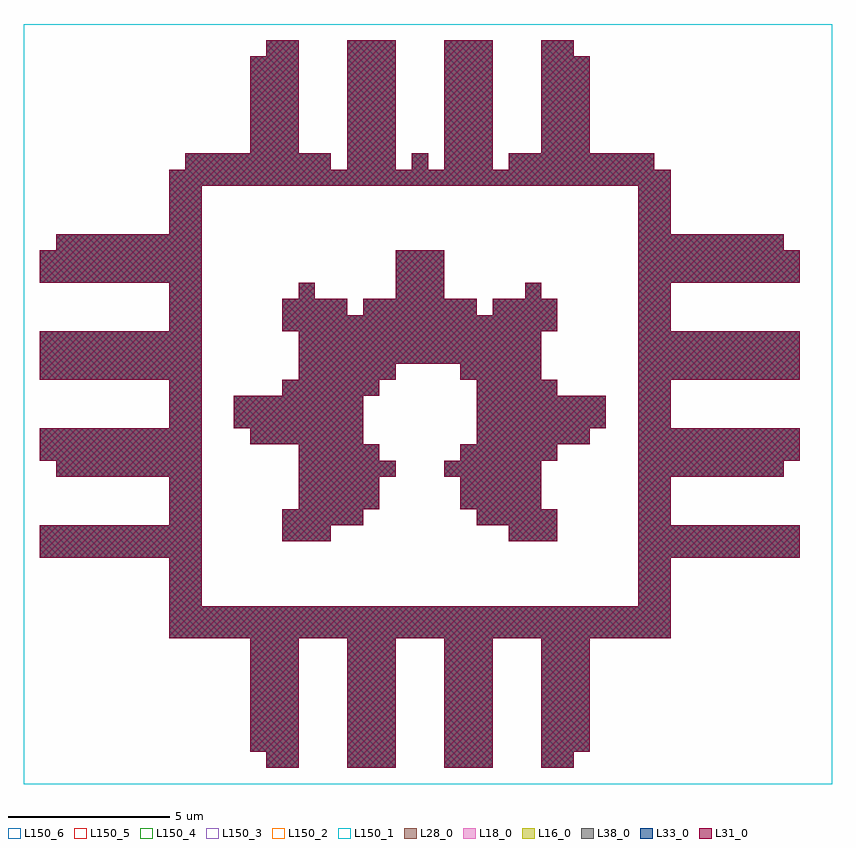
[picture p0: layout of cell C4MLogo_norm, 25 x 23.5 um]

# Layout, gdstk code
import gdstk
lib = gdstk.Library(unit=1e-6, precision=1e-09)
def R(c, l, rs):  # rectangles x0, y0, x1, y1
    for r in rs: c.add(gdstk.rectangle(r[:2], r[2:], *l))
def A(c, l, x, y, w, h, nx, ny, dx, dy):  # array of equal rectangles
    R(c, l, [(x+i*dx, y+j*dy, x+i*dx+w, y+j*dy+h) for i in range(nx) for j in range(ny)])
L16_0 = (16, 0)
L18_0 = (18, 0)
L28_0 = (28, 0)
L31_0 = (31, 0)
L33_0 = (33, 0)
L38_0 = (38, 0)
L150_1 = (150, 1)
L150_2 = (150, 2)
L150_3 = (150, 3)
L150_4 = (150, 4)
L150_5 = (150, 5)
L150_6 = (150, 6)

c4mlogo_norm = lib.new_cell('C4MLogo_norm')
A(c4mlogo_norm, L16_0, -5.5, -10.75, 1.5, 0.5, 4, 7, 3, 0.5)
A(c4mlogo_norm, L16_0, -8, -6.25, 1, 0.5, 1, 3, 0, 0.5)
A(c4mlogo_norm, L16_0, 6.5, -6.25, 1, 0.5, 1, 3, 0, 0.5)
A(c4mlogo_norm, L16_0, -8, -3.75, 1, 0.5, 1, 3, 0, 0.5)
A(c4mlogo_norm, L16_0, 6.5, -3.75, 1, 0.5, 1, 3, 0, 0.5)
A(c4mlogo_norm, L16_0, -8, -0.75, 1, 0.5, 1, 3, 0, 0.5)
A(c4mlogo_norm, L16_0, 6.5, -0.75, 1, 0.5, 1, 3, 0, 0.5)
A(c4mlogo_norm, L16_0, -12, 0.75, 5, 0.5, 1, 3, 0, 0.5)
A(c4mlogo_norm, L16_0, 6.5, 0.75, 5, 0.5, 1, 3, 0, 0.5)
A(c4mlogo_norm, L16_0, -8, 2.25, 1, 0.5, 1, 3, 0, 0.5)
A(c4mlogo_norm, L16_0, 6.5, 2.25, 1, 0.5, 1, 3, 0, 0.5)
A(c4mlogo_norm, L16_0, -1, 3.25, 1.5, 0.5, 1, 3, 0, 0.5)
A(c4mlogo_norm, L16_0, -8, 5.25, 1, 0.5, 1, 3, 0, 0.5)
A(c4mlogo_norm, L16_0, 6.5, 5.25, 1, 0.5, 1, 3, 0, 0.5)
A(c4mlogo_norm, L16_0, -5.5, 7.75, 1.5, 0.5, 4, 6, 3, 0.5)
R(c4mlogo_norm, L16_0, [(-5,-11.25,-4,-10.75), (-2.5,-11.25,-1,-10.75), (0.5,-11.25,2,-10.75), (3.5,-11.25,4.5,-10.75), (-8,-7.25,7.5,-6.75), (-8,-6.75,7.5,-6.25), (-12,-4.75,-7,-4.25), (6.5,-4.75,11.5,-4.25), (-12,-4.25,-7,-3.75), (-4.5,-4.25,-3,-3.75), (2.5,-4.25,4,-3.75), (6.5,-4.25,11.5,-3.75), (-4.5,-3.75,-2,-3.25), (1.5,-3.75,4,-3.25), (-4,-3.25,-1.5,-2.75), (1,-3.25,3.5,-2.75), (-4,-2.75,-1.5,-2.25), (1,-2.75,3.5,-2.25), (-11.5,-2.25,-7,-1.75), (-4,-2.25,-1,-1.75), (0.5,-2.25,3.5,-1.75), (6.5,-2.25,11,-1.75), (-12,-1.75,-7,-1.25), (-4,-1.75,-1.5,-1.25), (1,-1.75,4,-1.25), (6.5,-1.75,11.5,-1.25), (-12,-1.25,-7,-0.75), (-5.5,-1.25,-2,-0.75), (1.5,-1.25,5,-0.75), (6.5,-1.25,11.5,-0.75), (-6,-0.75,-2,-0.25), (1.5,-0.75,5.5,-0.25), (-6,-0.25,-2,0.25), (1.5,-0.25,5.5,0.25), (-4.5,0.25,-1.5,0.75), (1.5,0.25,4,0.75), (-4,0.75,-1,1.25), (1,0.75,3.5,1.25), (-4,1.25,3.5,1.75), (-4,1.75,3.5,2.25), (-4.5,2.25,4,2.75), (-4.5,2.75,-2.5,3.25), (-2,2.75,1.5,3.25), (2,2.75,4,3.25), (-4,3.25,-3.5,3.75), (3,3.25,3.5,3.75), (-12,3.75,-7,4.25), (6.5,3.75,11.5,4.25), (-12,4.25,-7,4.75), (6.5,4.25,11.5,4.75), (-11.5,4.75,-7,5.25), (6.5,4.75,11,5.25), (-8,6.75,7.5,7.25), (-7.5,7.25,-3,7.75), (-2.5,7.25,-1,7.75), (-0.5,7.25,0,7.75), (0.5,7.25,2,7.75), (2.5,7.25,7,7.75), (-5,10.75,-4,11.25), (-2.5,10.75,-1,11.25), (0.5,10.75,2,11.25), (3.5,10.75,4.5,11.25)])
A(c4mlogo_norm, L18_0, -5.5, -10.75, 1.5, 0.5, 4, 7, 3, 0.5)
A(c4mlogo_norm, L18_0, -8, -6.25, 1, 0.5, 1, 3, 0, 0.5)
A(c4mlogo_norm, L18_0, 6.5, -6.25, 1, 0.5, 1, 3, 0, 0.5)
A(c4mlogo_norm, L18_0, -8, -3.75, 1, 0.5, 1, 3, 0, 0.5)
A(c4mlogo_norm, L18_0, 6.5, -3.75, 1, 0.5, 1, 3, 0, 0.5)
A(c4mlogo_norm, L18_0, -8, -0.75, 1, 0.5, 1, 3, 0, 0.5)
A(c4mlogo_norm, L18_0, 6.5, -0.75, 1, 0.5, 1, 3, 0, 0.5)
A(c4mlogo_norm, L18_0, -12, 0.75, 5, 0.5, 1, 3, 0, 0.5)
A(c4mlogo_norm, L18_0, 6.5, 0.75, 5, 0.5, 1, 3, 0, 0.5)
A(c4mlogo_norm, L18_0, -8, 2.25, 1, 0.5, 1, 3, 0, 0.5)
A(c4mlogo_norm, L18_0, 6.5, 2.25, 1, 0.5, 1, 3, 0, 0.5)
A(c4mlogo_norm, L18_0, -1, 3.25, 1.5, 0.5, 1, 3, 0, 0.5)
A(c4mlogo_norm, L18_0, -8, 5.25, 1, 0.5, 1, 3, 0, 0.5)
A(c4mlogo_norm, L18_0, 6.5, 5.25, 1, 0.5, 1, 3, 0, 0.5)
A(c4mlogo_norm, L18_0, -5.5, 7.75, 1.5, 0.5, 4, 6, 3, 0.5)
R(c4mlogo_norm, L18_0, [(-5,-11.25,-4,-10.75), (-2.5,-11.25,-1,-10.75), (0.5,-11.25,2,-10.75), (3.5,-11.25,4.5,-10.75), (-8,-7.25,7.5,-6.75), (-8,-6.75,7.5,-6.25), (-12,-4.75,-7,-4.25), (6.5,-4.75,11.5,-4.25), (-12,-4.25,-7,-3.75), (-4.5,-4.25,-3,-3.75), (2.5,-4.25,4,-3.75), (6.5,-4.25,11.5,-3.75), (-4.5,-3.75,-2,-3.25), (1.5,-3.75,4,-3.25), (-4,-3.25,-1.5,-2.75), (1,-3.25,3.5,-2.75), (-4,-2.75,-1.5,-2.25), (1,-2.75,3.5,-2.25), (-11.5,-2.25,-7,-1.75), (-4,-2.25,-1,-1.75), (0.5,-2.25,3.5,-1.75), (6.5,-2.25,11,-1.75), (-12,-1.75,-7,-1.25), (-4,-1.75,-1.5,-1.25), (1,-1.75,4,-1.25), (6.5,-1.75,11.5,-1.25), (-12,-1.25,-7,-0.75), (-5.5,-1.25,-2,-0.75), (1.5,-1.25,5,-0.75), (6.5,-1.25,11.5,-0.75), (-6,-0.75,-2,-0.25), (1.5,-0.75,5.5,-0.25), (-6,-0.25,-2,0.25), (1.5,-0.25,5.5,0.25), (-4.5,0.25,-1.5,0.75), (1.5,0.25,4,0.75), (-4,0.75,-1,1.25), (1,0.75,3.5,1.25), (-4,1.25,3.5,1.75), (-4,1.75,3.5,2.25), (-4.5,2.25,4,2.75), (-4.5,2.75,-2.5,3.25), (-2,2.75,1.5,3.25), (2,2.75,4,3.25), (-4,3.25,-3.5,3.75), (3,3.25,3.5,3.75), (-12,3.75,-7,4.25), (6.5,3.75,11.5,4.25), (-12,4.25,-7,4.75), (6.5,4.25,11.5,4.75), (-11.5,4.75,-7,5.25), (6.5,4.75,11,5.25), (-8,6.75,7.5,7.25), (-7.5,7.25,-3,7.75), (-2.5,7.25,-1,7.75), (-0.5,7.25,0,7.75), (0.5,7.25,2,7.75), (2.5,7.25,7,7.75), (-5,10.75,-4,11.25), (-2.5,10.75,-1,11.25), (0.5,10.75,2,11.25), (3.5,10.75,4.5,11.25)])
A(c4mlogo_norm, L28_0, -5.5, -10.75, 1.5, 0.5, 4, 7, 3, 0.5)
A(c4mlogo_norm, L28_0, -8, -6.25, 1, 0.5, 1, 3, 0, 0.5)
A(c4mlogo_norm, L28_0, 6.5, -6.25, 1, 0.5, 1, 3, 0, 0.5)
A(c4mlogo_norm, L28_0, -8, -3.75, 1, 0.5, 1, 3, 0, 0.5)
A(c4mlogo_norm, L28_0, 6.5, -3.75, 1, 0.5, 1, 3, 0, 0.5)
A(c4mlogo_norm, L28_0, -8, -0.75, 1, 0.5, 1, 3, 0, 0.5)
A(c4mlogo_norm, L28_0, 6.5, -0.75, 1, 0.5, 1, 3, 0, 0.5)
A(c4mlogo_norm, L28_0, -12, 0.75, 5, 0.5, 1, 3, 0, 0.5)
A(c4mlogo_norm, L28_0, 6.5, 0.75, 5, 0.5, 1, 3, 0, 0.5)
A(c4mlogo_norm, L28_0, -8, 2.25, 1, 0.5, 1, 3, 0, 0.5)
A(c4mlogo_norm, L28_0, 6.5, 2.25, 1, 0.5, 1, 3, 0, 0.5)
A(c4mlogo_norm, L28_0, -1, 3.25, 1.5, 0.5, 1, 3, 0, 0.5)
A(c4mlogo_norm, L28_0, -8, 5.25, 1, 0.5, 1, 3, 0, 0.5)
A(c4mlogo_norm, L28_0, 6.5, 5.25, 1, 0.5, 1, 3, 0, 0.5)
A(c4mlogo_norm, L28_0, -5.5, 7.75, 1.5, 0.5, 4, 6, 3, 0.5)
R(c4mlogo_norm, L28_0, [(-5,-11.25,-4,-10.75), (-2.5,-11.25,-1,-10.75), (0.5,-11.25,2,-10.75), (3.5,-11.25,4.5,-10.75), (-8,-7.25,7.5,-6.75), (-8,-6.75,7.5,-6.25), (-12,-4.75,-7,-4.25), (6.5,-4.75,11.5,-4.25), (-12,-4.25,-7,-3.75), (-4.5,-4.25,-3,-3.75), (2.5,-4.25,4,-3.75), (6.5,-4.25,11.5,-3.75), (-4.5,-3.75,-2,-3.25), (1.5,-3.75,4,-3.25), (-4,-3.25,-1.5,-2.75), (1,-3.25,3.5,-2.75), (-4,-2.75,-1.5,-2.25), (1,-2.75,3.5,-2.25), (-11.5,-2.25,-7,-1.75), (-4,-2.25,-1,-1.75), (0.5,-2.25,3.5,-1.75), (6.5,-2.25,11,-1.75), (-12,-1.75,-7,-1.25), (-4,-1.75,-1.5,-1.25), (1,-1.75,4,-1.25), (6.5,-1.75,11.5,-1.25), (-12,-1.25,-7,-0.75), (-5.5,-1.25,-2,-0.75), (1.5,-1.25,5,-0.75), (6.5,-1.25,11.5,-0.75), (-6,-0.75,-2,-0.25), (1.5,-0.75,5.5,-0.25), (-6,-0.25,-2,0.25), (1.5,-0.25,5.5,0.25), (-4.5,0.25,-1.5,0.75), (1.5,0.25,4,0.75), (-4,0.75,-1,1.25), (1,0.75,3.5,1.25), (-4,1.25,3.5,1.75), (-4,1.75,3.5,2.25), (-4.5,2.25,4,2.75), (-4.5,2.75,-2.5,3.25), (-2,2.75,1.5,3.25), (2,2.75,4,3.25), (-4,3.25,-3.5,3.75), (3,3.25,3.5,3.75), (-12,3.75,-7,4.25), (6.5,3.75,11.5,4.25), (-12,4.25,-7,4.75), (6.5,4.25,11.5,4.75), (-11.5,4.75,-7,5.25), (6.5,4.75,11,5.25), (-8,6.75,7.5,7.25), (-7.5,7.25,-3,7.75), (-2.5,7.25,-1,7.75), (-0.5,7.25,0,7.75), (0.5,7.25,2,7.75), (2.5,7.25,7,7.75), (-5,10.75,-4,11.25), (-2.5,10.75,-1,11.25), (0.5,10.75,2,11.25), (3.5,10.75,4.5,11.25)])
A(c4mlogo_norm, L31_0, -5.5, -10.75, 1.5, 0.5, 4, 7, 3, 0.5)
A(c4mlogo_norm, L31_0, -8, -6.25, 1, 0.5, 1, 3, 0, 0.5)
A(c4mlogo_norm, L31_0, 6.5, -6.25, 1, 0.5, 1, 3, 0, 0.5)
A(c4mlogo_norm, L31_0, -8, -3.75, 1, 0.5, 1, 3, 0, 0.5)
A(c4mlogo_norm, L31_0, 6.5, -3.75, 1, 0.5, 1, 3, 0, 0.5)
A(c4mlogo_norm, L31_0, -8, -0.75, 1, 0.5, 1, 3, 0, 0.5)
A(c4mlogo_norm, L31_0, 6.5, -0.75, 1, 0.5, 1, 3, 0, 0.5)
A(c4mlogo_norm, L31_0, -12, 0.75, 5, 0.5, 1, 3, 0, 0.5)
A(c4mlogo_norm, L31_0, 6.5, 0.75, 5, 0.5, 1, 3, 0, 0.5)
A(c4mlogo_norm, L31_0, -8, 2.25, 1, 0.5, 1, 3, 0, 0.5)
A(c4mlogo_norm, L31_0, 6.5, 2.25, 1, 0.5, 1, 3, 0, 0.5)
A(c4mlogo_norm, L31_0, -1, 3.25, 1.5, 0.5, 1, 3, 0, 0.5)
A(c4mlogo_norm, L31_0, -8, 5.25, 1, 0.5, 1, 3, 0, 0.5)
A(c4mlogo_norm, L31_0, 6.5, 5.25, 1, 0.5, 1, 3, 0, 0.5)
A(c4mlogo_norm, L31_0, -5.5, 7.75, 1.5, 0.5, 4, 6, 3, 0.5)
R(c4mlogo_norm, L31_0, [(-5,-11.25,-4,-10.75), (-2.5,-11.25,-1,-10.75), (0.5,-11.25,2,-10.75), (3.5,-11.25,4.5,-10.75), (-8,-7.25,7.5,-6.75), (-8,-6.75,7.5,-6.25), (-12,-4.75,-7,-4.25), (6.5,-4.75,11.5,-4.25), (-12,-4.25,-7,-3.75), (-4.5,-4.25,-3,-3.75), (2.5,-4.25,4,-3.75), (6.5,-4.25,11.5,-3.75), (-4.5,-3.75,-2,-3.25), (1.5,-3.75,4,-3.25), (-4,-3.25,-1.5,-2.75), (1,-3.25,3.5,-2.75), (-4,-2.75,-1.5,-2.25), (1,-2.75,3.5,-2.25), (-11.5,-2.25,-7,-1.75), (-4,-2.25,-1,-1.75), (0.5,-2.25,3.5,-1.75), (6.5,-2.25,11,-1.75), (-12,-1.75,-7,-1.25), (-4,-1.75,-1.5,-1.25), (1,-1.75,4,-1.25), (6.5,-1.75,11.5,-1.25), (-12,-1.25,-7,-0.75), (-5.5,-1.25,-2,-0.75), (1.5,-1.25,5,-0.75), (6.5,-1.25,11.5,-0.75), (-6,-0.75,-2,-0.25), (1.5,-0.75,5.5,-0.25), (-6,-0.25,-2,0.25), (1.5,-0.25,5.5,0.25), (-4.5,0.25,-1.5,0.75), (1.5,0.25,4,0.75), (-4,0.75,-1,1.25), (1,0.75,3.5,1.25), (-4,1.25,3.5,1.75), (-4,1.75,3.5,2.25), (-4.5,2.25,4,2.75), (-4.5,2.75,-2.5,3.25), (-2,2.75,1.5,3.25), (2,2.75,4,3.25), (-4,3.25,-3.5,3.75), (3,3.25,3.5,3.75), (-12,3.75,-7,4.25), (6.5,3.75,11.5,4.25), (-12,4.25,-7,4.75), (6.5,4.25,11.5,4.75), (-11.5,4.75,-7,5.25), (6.5,4.75,11,5.25), (-8,6.75,7.5,7.25), (-7.5,7.25,-3,7.75), (-2.5,7.25,-1,7.75), (-0.5,7.25,0,7.75), (0.5,7.25,2,7.75), (2.5,7.25,7,7.75), (-5,10.75,-4,11.25), (-2.5,10.75,-1,11.25), (0.5,10.75,2,11.25), (3.5,10.75,4.5,11.25)])
A(c4mlogo_norm, L33_0, -5.5, -10.75, 1.5, 0.5, 4, 7, 3, 0.5)
A(c4mlogo_norm, L33_0, -8, -6.25, 1, 0.5, 1, 3, 0, 0.5)
A(c4mlogo_norm, L33_0, 6.5, -6.25, 1, 0.5, 1, 3, 0, 0.5)
A(c4mlogo_norm, L33_0, -8, -3.75, 1, 0.5, 1, 3, 0, 0.5)
A(c4mlogo_norm, L33_0, 6.5, -3.75, 1, 0.5, 1, 3, 0, 0.5)
A(c4mlogo_norm, L33_0, -8, -0.75, 1, 0.5, 1, 3, 0, 0.5)
A(c4mlogo_norm, L33_0, 6.5, -0.75, 1, 0.5, 1, 3, 0, 0.5)
A(c4mlogo_norm, L33_0, -12, 0.75, 5, 0.5, 1, 3, 0, 0.5)
A(c4mlogo_norm, L33_0, 6.5, 0.75, 5, 0.5, 1, 3, 0, 0.5)
A(c4mlogo_norm, L33_0, -8, 2.25, 1, 0.5, 1, 3, 0, 0.5)
A(c4mlogo_norm, L33_0, 6.5, 2.25, 1, 0.5, 1, 3, 0, 0.5)
A(c4mlogo_norm, L33_0, -1, 3.25, 1.5, 0.5, 1, 3, 0, 0.5)
A(c4mlogo_norm, L33_0, -8, 5.25, 1, 0.5, 1, 3, 0, 0.5)
A(c4mlogo_norm, L33_0, 6.5, 5.25, 1, 0.5, 1, 3, 0, 0.5)
A(c4mlogo_norm, L33_0, -5.5, 7.75, 1.5, 0.5, 4, 6, 3, 0.5)
R(c4mlogo_norm, L33_0, [(-5,-11.25,-4,-10.75), (-2.5,-11.25,-1,-10.75), (0.5,-11.25,2,-10.75), (3.5,-11.25,4.5,-10.75), (-8,-7.25,7.5,-6.75), (-8,-6.75,7.5,-6.25), (-12,-4.75,-7,-4.25), (6.5,-4.75,11.5,-4.25), (-12,-4.25,-7,-3.75), (-4.5,-4.25,-3,-3.75), (2.5,-4.25,4,-3.75), (6.5,-4.25,11.5,-3.75), (-4.5,-3.75,-2,-3.25), (1.5,-3.75,4,-3.25), (-4,-3.25,-1.5,-2.75), (1,-3.25,3.5,-2.75), (-4,-2.75,-1.5,-2.25), (1,-2.75,3.5,-2.25), (-11.5,-2.25,-7,-1.75), (-4,-2.25,-1,-1.75), (0.5,-2.25,3.5,-1.75), (6.5,-2.25,11,-1.75), (-12,-1.75,-7,-1.25), (-4,-1.75,-1.5,-1.25), (1,-1.75,4,-1.25), (6.5,-1.75,11.5,-1.25), (-12,-1.25,-7,-0.75), (-5.5,-1.25,-2,-0.75), (1.5,-1.25,5,-0.75), (6.5,-1.25,11.5,-0.75), (-6,-0.75,-2,-0.25), (1.5,-0.75,5.5,-0.25), (-6,-0.25,-2,0.25), (1.5,-0.25,5.5,0.25), (-4.5,0.25,-1.5,0.75), (1.5,0.25,4,0.75), (-4,0.75,-1,1.25), (1,0.75,3.5,1.25), (-4,1.25,3.5,1.75), (-4,1.75,3.5,2.25), (-4.5,2.25,4,2.75), (-4.5,2.75,-2.5,3.25), (-2,2.75,1.5,3.25), (2,2.75,4,3.25), (-4,3.25,-3.5,3.75), (3,3.25,3.5,3.75), (-12,3.75,-7,4.25), (6.5,3.75,11.5,4.25), (-12,4.25,-7,4.75), (6.5,4.25,11.5,4.75), (-11.5,4.75,-7,5.25), (6.5,4.75,11,5.25), (-8,6.75,7.5,7.25), (-7.5,7.25,-3,7.75), (-2.5,7.25,-1,7.75), (-0.5,7.25,0,7.75), (0.5,7.25,2,7.75), (2.5,7.25,7,7.75), (-5,10.75,-4,11.25), (-2.5,10.75,-1,11.25), (0.5,10.75,2,11.25), (3.5,10.75,4.5,11.25)])
A(c4mlogo_norm, L38_0, -5.5, -10.75, 1.5, 0.5, 4, 7, 3, 0.5)
A(c4mlogo_norm, L38_0, -8, -6.25, 1, 0.5, 1, 3, 0, 0.5)
A(c4mlogo_norm, L38_0, 6.5, -6.25, 1, 0.5, 1, 3, 0, 0.5)
A(c4mlogo_norm, L38_0, -8, -3.75, 1, 0.5, 1, 3, 0, 0.5)
A(c4mlogo_norm, L38_0, 6.5, -3.75, 1, 0.5, 1, 3, 0, 0.5)
A(c4mlogo_norm, L38_0, -8, -0.75, 1, 0.5, 1, 3, 0, 0.5)
A(c4mlogo_norm, L38_0, 6.5, -0.75, 1, 0.5, 1, 3, 0, 0.5)
A(c4mlogo_norm, L38_0, -12, 0.75, 5, 0.5, 1, 3, 0, 0.5)
A(c4mlogo_norm, L38_0, 6.5, 0.75, 5, 0.5, 1, 3, 0, 0.5)
A(c4mlogo_norm, L38_0, -8, 2.25, 1, 0.5, 1, 3, 0, 0.5)
A(c4mlogo_norm, L38_0, 6.5, 2.25, 1, 0.5, 1, 3, 0, 0.5)
A(c4mlogo_norm, L38_0, -1, 3.25, 1.5, 0.5, 1, 3, 0, 0.5)
A(c4mlogo_norm, L38_0, -8, 5.25, 1, 0.5, 1, 3, 0, 0.5)
A(c4mlogo_norm, L38_0, 6.5, 5.25, 1, 0.5, 1, 3, 0, 0.5)
A(c4mlogo_norm, L38_0, -5.5, 7.75, 1.5, 0.5, 4, 6, 3, 0.5)
R(c4mlogo_norm, L38_0, [(-5,-11.25,-4,-10.75), (-2.5,-11.25,-1,-10.75), (0.5,-11.25,2,-10.75), (3.5,-11.25,4.5,-10.75), (-8,-7.25,7.5,-6.75), (-8,-6.75,7.5,-6.25), (-12,-4.75,-7,-4.25), (6.5,-4.75,11.5,-4.25), (-12,-4.25,-7,-3.75), (-4.5,-4.25,-3,-3.75), (2.5,-4.25,4,-3.75), (6.5,-4.25,11.5,-3.75), (-4.5,-3.75,-2,-3.25), (1.5,-3.75,4,-3.25), (-4,-3.25,-1.5,-2.75), (1,-3.25,3.5,-2.75), (-4,-2.75,-1.5,-2.25), (1,-2.75,3.5,-2.25), (-11.5,-2.25,-7,-1.75), (-4,-2.25,-1,-1.75), (0.5,-2.25,3.5,-1.75), (6.5,-2.25,11,-1.75), (-12,-1.75,-7,-1.25), (-4,-1.75,-1.5,-1.25), (1,-1.75,4,-1.25), (6.5,-1.75,11.5,-1.25), (-12,-1.25,-7,-0.75), (-5.5,-1.25,-2,-0.75), (1.5,-1.25,5,-0.75), (6.5,-1.25,11.5,-0.75), (-6,-0.75,-2,-0.25), (1.5,-0.75,5.5,-0.25), (-6,-0.25,-2,0.25), (1.5,-0.25,5.5,0.25), (-4.5,0.25,-1.5,0.75), (1.5,0.25,4,0.75), (-4,0.75,-1,1.25), (1,0.75,3.5,1.25), (-4,1.25,3.5,1.75), (-4,1.75,3.5,2.25), (-4.5,2.25,4,2.75), (-4.5,2.75,-2.5,3.25), (-2,2.75,1.5,3.25), (2,2.75,4,3.25), (-4,3.25,-3.5,3.75), (3,3.25,3.5,3.75), (-12,3.75,-7,4.25), (6.5,3.75,11.5,4.25), (-12,4.25,-7,4.75), (6.5,4.25,11.5,4.75), (-11.5,4.75,-7,5.25), (6.5,4.75,11,5.25), (-8,6.75,7.5,7.25), (-7.5,7.25,-3,7.75), (-2.5,7.25,-1,7.75), (-0.5,7.25,0,7.75), (0.5,7.25,2,7.75), (2.5,7.25,7,7.75), (-5,10.75,-4,11.25), (-2.5,10.75,-1,11.25), (0.5,10.75,2,11.25), (3.5,10.75,4.5,11.25)])
R(c4mlogo_norm, L150_1, [(-12.5,-11.75,12.5,11.75)])
R(c4mlogo_norm, L150_2, [(-12.5,-11.75,12.5,11.75)])
R(c4mlogo_norm, L150_3, [(-12.5,-11.75,12.5,11.75)])
R(c4mlogo_norm, L150_4, [(-12.5,-11.75,12.5,11.75)])
R(c4mlogo_norm, L150_5, [(-12.5,-11.75,12.5,11.75)])
R(c4mlogo_norm, L150_6, [(-12.5,-11.75,12.5,11.75)])

lib.write_gds('C4MLogo_norm.gds')
